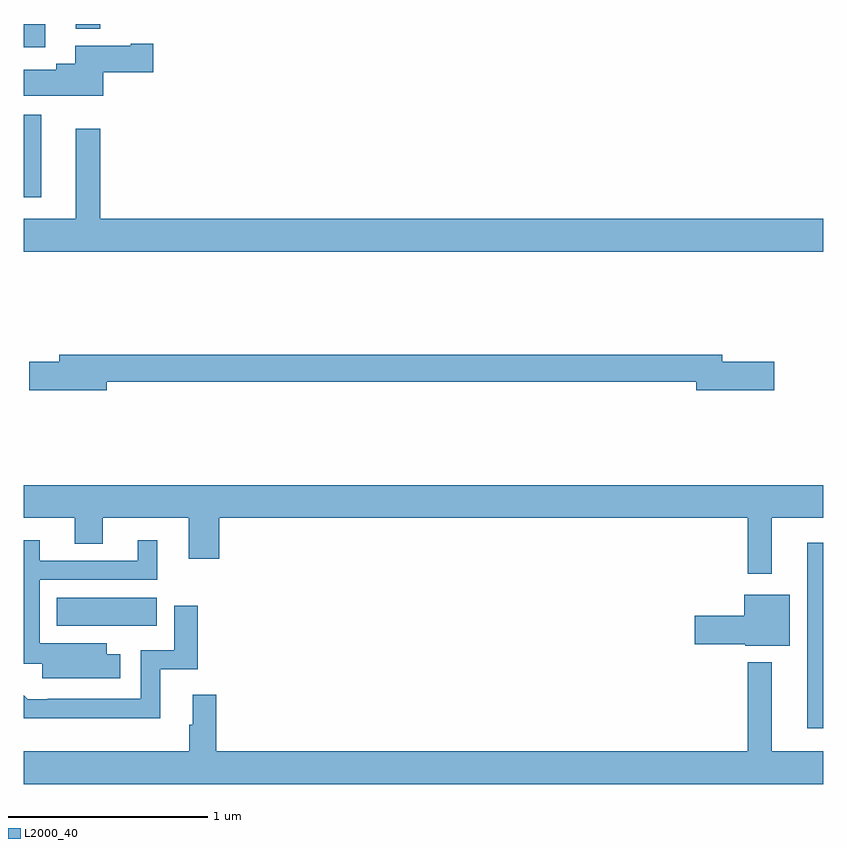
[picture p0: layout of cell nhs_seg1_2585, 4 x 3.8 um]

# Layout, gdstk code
import gdstk
lib = gdstk.Library(unit=1e-6, precision=1e-09)
def R(c, l, rs):  # rectangles x0, y0, x1, y1
    for r in rs: c.add(gdstk.rectangle(r[:2], r[2:], *l))
def P(c, l, *ps):  # polygons
    for p in ps: c.add(gdstk.Polygon(p, *l))
L2000_40 = (2000, 40)

nhs_seg1_2585 = lib.new_cell('nhs_seg1_2585')
R(nhs_seg1_2585, L2000_40, [(254.921,554.675,255,555.604), (251.164,555.188,251.665,555.328), (251,557.331,251.086,557.746), (251,558.083,251.107,558.199), (251.261,558.176,251.383,558.199)])
P(nhs_seg1_2585, L2000_40, [(251.398,557.957),(251.647,557.957),(251.647,558.099),(251.534,558.099),(251.534,558.091),(251.258,558.091),(251.258,558.001),(251.162,558.001),(251.162,557.969),(251,557.969),(251,557.84),(251.398,557.84)],
  [(255,557.224),(251.383,557.224),(251.383,557.674),(251.261,557.674),(251.261,557.224),(251,557.224),(251,557.06),(255,557.06)],
  [(251.416,556.408),(254.366,556.408),(254.366,556.366),(254.755,556.366),(254.755,556.508),(254.494,556.508),(254.494,556.544),(251.177,556.544),(251.177,556.508),(251.028,556.508),(251.028,556.366),(251.416,556.366)],
  [(254.743,555.728),(255,555.728),(255,555.892),(251,555.892),(251,555.728),(251.255,555.728),(251.255,555.598),(251.395,555.598),(251.395,555.728),(251.825,555.728),(251.825,555.522),(251.978,555.522),(251.978,555.728),(254.622,555.728),(254.622,555.447),(254.743,555.447)],
  [(251.482,555.046),(251.416,555.046),(251.416,555.1),(251.079,555.1),(251.079,555.417),(251.668,555.417),(251.668,555.616),(251.57,555.616),(251.57,555.513),(251.08,555.513),(251.08,555.616),(251,555.616),(251,554.997),(251.093,554.997),(251.093,554.924),(251.482,554.924)],
  [(254.833,555.343),(254.606,555.343),(254.606,555.237),(254.358,555.237),(254.358,555.095),(254.61,555.095),(254.61,555.089),(254.833,555.089)],
  [(251.171,554.726),(251.683,554.726),(251.683,554.97),(251.87,554.97),(251.87,555.289),(251.754,555.289),(251.754,555.066),(251.586,555.066),(251.586,554.823),(251.119,554.823),(251.119,554.82),(251.019,554.82),(251,554.839),(251,554.724),(251.171,554.724)],
  [(255,554.56),(254.743,554.56),(254.743,555.004),(254.622,555.004),(254.622,554.56),(251.963,554.56),(251.963,554.842),(251.846,554.842),(251.846,554.693),(251.827,554.693),(251.827,554.56),(251,554.56),(251,554.396),(255,554.396)])

lib.write_gds('nhs_seg1_2585.gds')
